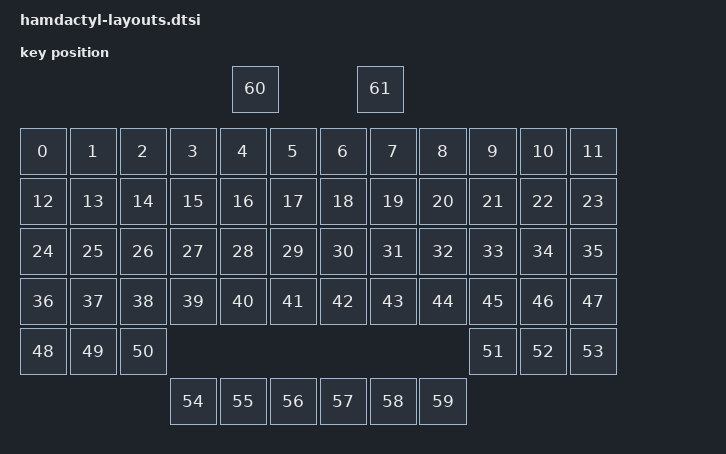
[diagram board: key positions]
#include <physical_layouts.dtsi>

/ {
    physical_layout_hamdactyl: physical_layout_hamdactyl {
        compatible = "zmk,physical-layout";
        display-name = "HamDactyl";
        keys  //                     w   h    x    y     rot    rx    ry
            = <&key_physical_attrs 100 100    0  125       0     0   125>
            , <&key_physical_attrs 100 100  100  125       0   100   125>
            , <&key_physical_attrs 100 100  200  125       0   200   125>
            , <&key_physical_attrs 100 100  300  125       0   300   125>
            , <&key_physical_attrs 100 100  400  125       0   400   125>
            , <&key_physical_attrs 100 100  500  125       0   500   125>
            , <&key_physical_attrs 100 100  600  125       0   600   125>
            , <&key_physical_attrs 100 100  700  125       0   700   125>
            , <&key_physical_attrs 100 100  800  125       0   800   125>
            , <&key_physical_attrs 100 100  900  125       0   900   125>
            , <&key_physical_attrs 100 100 1000  125       0  1000   125>
            , <&key_physical_attrs 100 100 1100  125       0  1100   125>
            , <&key_physical_attrs 100 100    0  225       0     0   225>
            , <&key_physical_attrs 100 100  100  225       0   100   225>
            , <&key_physical_attrs 100 100  200  225       0   200   225>
            , <&key_physical_attrs 100 100  300  225       0   300   225>
            , <&key_physical_attrs 100 100  400  225       0   400   225>
            , <&key_physical_attrs 100 100  500  225       0   500   225>
            , <&key_physical_attrs 100 100  600  225       0   600   225>
            , <&key_physical_attrs 100 100  700  225       0   700   225>
            , <&key_physical_attrs 100 100  800  225       0   800   225>
            , <&key_physical_attrs 100 100  900  225       0   900   225>
            , <&key_physical_attrs 100 100 1000  225       0  1000   225>
            , <&key_physical_attrs 100 100 1100  225       0  1100   225>
            , <&key_physical_attrs 100 100    0  325       0     0   325>
            , <&key_physical_attrs 100 100  100  325       0   100   325>
            , <&key_physical_attrs 100 100  200  325       0   200   325>
            , <&key_physical_attrs 100 100  300  325       0   300   325>
            , <&key_physical_attrs 100 100  400  325       0   400   325>
            , <&key_physical_attrs 100 100  500  325       0   500   325>
            , <&key_physical_attrs 100 100  600  325       0   600   325>
            , <&key_physical_attrs 100 100  700  325       0   700   325>
            , <&key_physical_attrs 100 100  800  325       0   800   325>
            , <&key_physical_attrs 100 100  900  325       0   900   325>
            , <&key_physical_attrs 100 100 1000  325       0  1000   325>
            , <&key_physical_attrs 100 100 1100  325       0  1100   325>
            , <&key_physical_attrs 100 100    0  425       0     0   425>
            , <&key_physical_attrs 100 100  100  425       0   100   425>
            , <&key_physical_attrs 100 100  200  425       0   200   425>
            , <&key_physical_attrs 100 100  300  425       0   300   425>
            , <&key_physical_attrs 100 100  400  425       0   400   425>
            , <&key_physical_attrs 100 100  500  425       0   500   425>
            , <&key_physical_attrs 100 100  600  425       0   600   425>
            , <&key_physical_attrs 100 100  700  425       0   700   425>
            , <&key_physical_attrs 100 100  800  425       0   800   425>
            , <&key_physical_attrs 100 100  900  425       0   900   425>
            , <&key_physical_attrs 100 100 1000  425       0  1000   425>
            , <&key_physical_attrs 100 100 1100  425       0  1100   425>
            , <&key_physical_attrs 100 100    0  525       0     0   525>
            , <&key_physical_attrs 100 100  100  525       0   100   525>
            , <&key_physical_attrs 100 100  200  525       0   200   525>
            , <&key_physical_attrs 100 100  900  525       0   900   525>
            , <&key_physical_attrs 100 100 1000  525       0  1000   525>
            , <&key_physical_attrs 100 100 1100  525       0  1100   525>
            , <&key_physical_attrs 100 100  300  625       0   300   625>
            , <&key_physical_attrs 100 100  400  625       0   400   625>
            , <&key_physical_attrs 100 100  500  625       0   500   625>
            , <&key_physical_attrs 100 100  600  625       0   600   625>
            , <&key_physical_attrs 100 100  700  625       0   700   625>
            , <&key_physical_attrs 100 100  800  625       0   800   625>
            , <&key_physical_attrs 100 100  425    0       0   425     0>
            , <&key_physical_attrs 100 100  675    0       0   675     0>
            ;
    };
};
